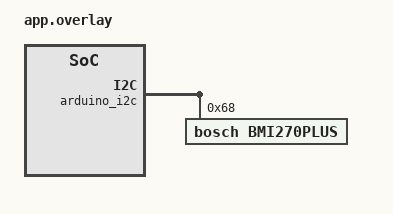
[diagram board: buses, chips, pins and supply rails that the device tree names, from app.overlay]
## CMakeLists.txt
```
# SPDX-License-Identifier: Apache-2.0

cmake_minimum_required(VERSION 3.20.0)

find_package(Zephyr REQUIRED HINTS $ENV{ZEPHYR_BASE})
project(hello_world)

#zephyr_include_directories(src/sensors/bmi270plus) 
add_subdirectory(src/sensors/bmi270plus)
target_sources(app PRIVATE src/main.c)
```

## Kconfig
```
source "Kconfig.zephyr"

rsource "src/sensors/bmi270plus/Kconfig"
```

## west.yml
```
manifest:
  remotes:
    - name: zephyrproject-rtos
      url-base: https://github.com/zephyrproject-rtos
  projects:
    - name: zephyr
      remote: zephyrproject-rtos
      revision: v3.7.0
      import: true
  self:
    path: app
```

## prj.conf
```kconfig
CONFIG_I2C=y
CONFIG_SENSOR=y
CONFIG_BMI270_PLUS=y
```

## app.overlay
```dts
&arduino_i2c {
	status = "okay";

	bmi270plus@68 {
		compatible = "bosch,bmi270plus";
		reg = <0x68>;
		step-counter;
	};
};
```

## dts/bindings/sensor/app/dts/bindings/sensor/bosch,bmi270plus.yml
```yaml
# Copyright (c) 2021, Bosch Sensortec GmbH
# Copyright (c) 2022, Nordic Semiconductor ASA
# SPDX-License-Identifier: Apache-2.0

description: |
    The BMI270 is an inertial measurement unit. See more info at:
    https://www.bosch-sensortec.com/products/motion-sensors/imus/bmi270.html

include: [sensor-device.yaml, i2c-device.yaml]

compatible: "bosch,bmi270plus"

properties:
  irq-gpios:
    type: phandle-array
    description: |
      The INT1 and (optional) INT2 signal connections.step-counter:

  step-counter:
    type: boolean
    description: Enable step counter feature in BMI270


    
```

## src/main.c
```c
/*
 * Copyright (c) 2021 Bosch Sensortec GmbH
 *
 * SPDX-License-Identifier: Apache-2.0
 */

#include <stdio.h>
#include <zephyr/device.h>
#include <zephyr/drivers/sensor.h>
#include <zephyr/kernel.h>

#include "bmi270plus.h"

int main(void) {
    int ret = 0;
    const struct device *const dev = DEVICE_DT_GET_ONE(bosch_bmi270plus);
    struct sensor_value acc[3], gyr[3], step_counter;
    struct sensor_value full_scale, sampling_freq, oversampling;

    if (!device_is_ready(dev)) {
        printf("Device %s is not ready\n", dev->name);
        return 0;
    }

    full_scale.val1 = 2; /* G */
    full_scale.val2 = 0;
    sampling_freq.val1 = 100; /* Hz. Performance mode */
    sampling_freq.val2 = 0;
    oversampling.val1 = 1; /* Normal mode */
    oversampling.val2 = 0;

    sensor_attr_set(dev, SENSOR_CHAN_ACCEL_XYZ, SENSOR_ATTR_FULL_SCALE, &full_scale);
    sensor_attr_set(dev, SENSOR_CHAN_ACCEL_XYZ, SENSOR_ATTR_OVERSAMPLING, &oversampling);
    sensor_attr_set(dev, SENSOR_CHAN_ACCEL_XYZ, SENSOR_ATTR_SAMPLING_FREQUENCY, &sampling_freq);

    /* Setting scale in degrees/s to match the sensor scale */
    full_scale.val1 = 500; /* dps */
    full_scale.val2 = 0;
    sampling_freq.val1 = 100; /* Hz. Performance mode */
    sampling_freq.val2 = 0;
    oversampling.val1 = 1; /* Normal mode */
    oversampling.val2 = 0;

    sensor_attr_set(dev, SENSOR_CHAN_GYRO_XYZ, SENSOR_ATTR_FULL_SCALE, &full_scale);
    sensor_attr_set(dev, SENSOR_CHAN_GYRO_XYZ, SENSOR_ATTR_OVERSAMPLING, &oversampling);
    sensor_attr_set(dev, SENSOR_CHAN_GYRO_XYZ, SENSOR_ATTR_SAMPLING_FREQUENCY, &sampling_freq);

    sensor_attr_set(dev, SENSOR_CHAN_STEP_CNT, SENSOR_ATTR_OFFSET, &step_counter);

    while (1) {
        ret = sensor_sample_fetch(dev);
        if (ret == 0) {
            sensor_channel_get(dev, SENSOR_CHAN_ACCEL_XYZ, acc);
            sensor_channel_get(dev, SENSOR_CHAN_GYRO_XYZ, gyr);
            sensor_channel_get(dev, SENSOR_CHAN_STEP_CNT, &step_counter);

            printf(
                "AX: %d.%06d; AY: %d.%06d; AZ: %d.%06d; "
                "GX: %d.%06d; GY: %d.%06d; GZ: %d.%06d; "
                "Step counter: %d\n",
                acc[0].val1, acc[0].val2, acc[1].val1, acc[1].val2, acc[2].val1, acc[2].val2, gyr[0].val1, gyr[0].val2,
                gyr[1].val1, gyr[1].val2, gyr[2].val1, gyr[2].val2, step_counter.val1);
        } else {
            printf("Error: %d\n", ret);
        }

        k_sleep(K_SECONDS(1));
    }

    return 0;
}
```
